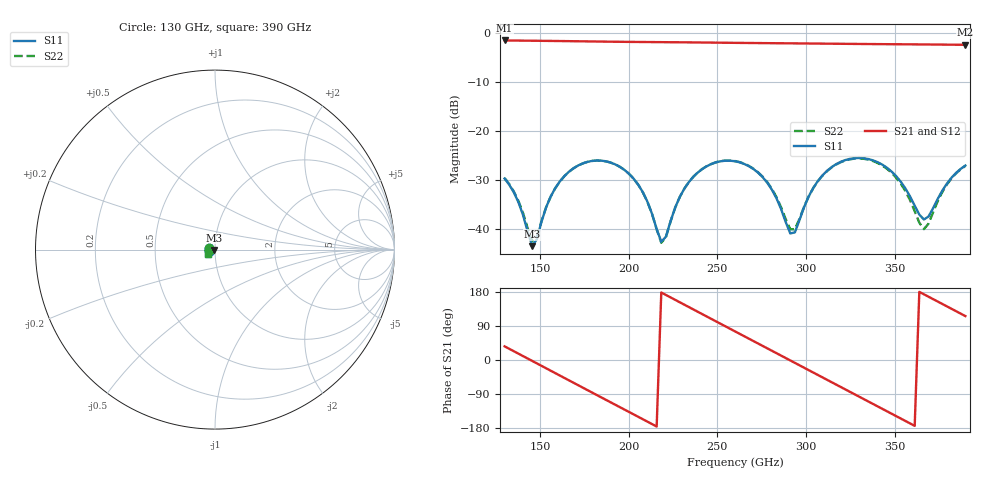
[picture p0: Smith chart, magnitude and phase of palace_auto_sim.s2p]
#  GHZ S DB R 50
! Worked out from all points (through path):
!   101 points, 130 GHz to 390 GHz, reference 50 ohm
!   highest |S21| = -1.52 dB at 130 GHz (marker M1); lowest = -2.4 dB at 390 GHz (marker M2)
!   group delay of S21, straight-line fit = 6.84 ps
!   lowest |S11| = -43.5 dB at 145.6 GHz (marker M3), VSWR 1.01, Z = 49.4 - j0.15 ohm
!   |S11| at or under -10 dB: start of sweep to end of sweep
!   |S22| runs from -42.8 to -25.6 dB; largest |S21 - S12| = 1.4e-13
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130  -29.69 163.5  -1.52 36.0  -1.52 36.0  -29.58 164.0
137.8  -34.52 153.3  -1.54 16.7  -1.54 16.7  -34.26 154.5
145.6  -43.49 -166.8  -1.57 -2.5  -1.57 -2.5  -42.50 -168.7
158.6  -31.63 -112.6  -1.62 -34.6  -1.62 -34.6  -31.66 -114.6
174.2  -26.58 -143.3  -1.69 -73.2  -1.69 -73.2  -26.60 -144.2
187.2  -26.18 -172.2  -1.76 -105.2  -1.76 -105.2  -26.18 -172.9
200.2  -28.73 160.5  -1.81 -137.1  -1.81 -137.1  -28.73 159.9
210.6  -34.43 147.1  -1.84 -162.7  -1.84 -162.7  -34.44 146.3
218.4  -42.59 -174.7  -1.86 178.1  -1.86 178.1  -42.78 -175.2
236.6  -29.29 -128.0  -1.92 133.2  -1.92 133.2  -29.28 -127.7
249.6  -26.35 -153.4  -1.97 101.2  -1.97 101.2  -26.33 -153.2
260  -26.16 -175.2  -2.00 75.6  -2.00 75.6  -26.12 -174.8
278.2  -30.55 151.4  -2.06 30.8  -2.06 30.8  -30.42 152.3
291.2  -40.89 179.2  -2.10 -1.2  -2.10 -1.2  -40.06 178.3
293.8  -40.67 -150.9  -2.11 -7.6  -2.11 -7.6  -40.03 -155.0
304.2  -31.58 -124.0  -2.14 -33.2  -2.14 -33.2  -31.61 -126.8
317.2  -26.73 -144.7  -2.19 -65.2  -2.19 -65.2  -26.80 -146.7
327.6  -25.53 -165.4  -2.22 -90.7  -2.22 -90.7  -25.62 -167.5
348.4  -28.28 156.1  -2.28 -141.8  -2.28 -141.8  -28.54 152.7
366.6  -38.05 -176.2  -2.33 173.4  -2.33 173.4  -40.01 -174.9
379.6  -30.71 -136.7  -2.37 141.4  -2.37 141.4  -30.89 -132.8
390  -27.04 -149.8  -2.41 115.8  -2.41 115.8  -27.12 -148.1
